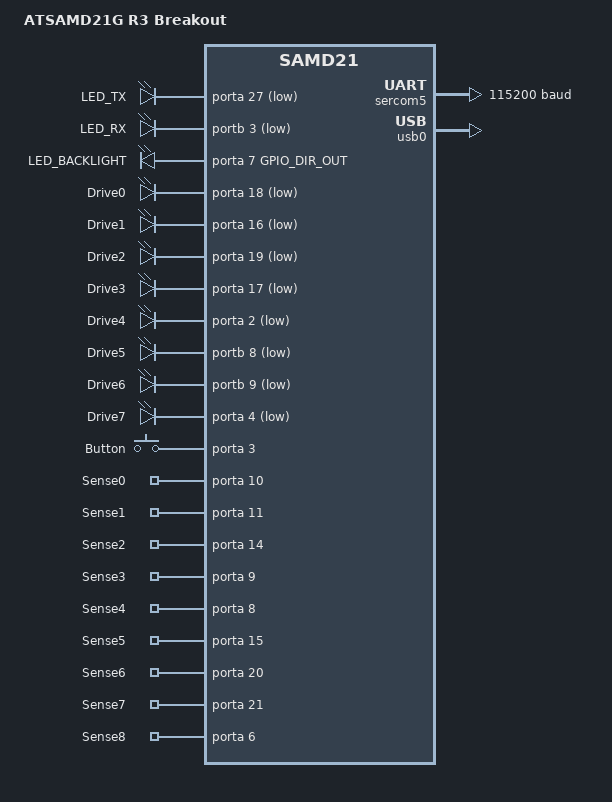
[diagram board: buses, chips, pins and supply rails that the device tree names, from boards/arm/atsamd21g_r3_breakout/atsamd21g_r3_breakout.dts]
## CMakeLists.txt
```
cmake_minimum_required(VERSION 3.13.1)

set(BOARD_ROOT ${CMAKE_CURRENT_LIST_DIR})
set(BOARD atsamd21g_r3_breakout)

find_package(Zephyr REQUIRED HINTS $ENV{ZEPHYR_BASE})

project(mf86v2)

target_sources(app PRIVATE src/main.cpp)
target_sources(app PRIVATE src/hid.cpp)
```

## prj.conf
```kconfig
CONFIG_GPIO=y
CONFIG_CORTEX_M_SYSTICK=y
CONFIG_BUILD_OUTPUT_HEX=y
CONFIG_SOC_SERIES_SAMD21=y
CONFIG_SOC_ATMEL_SAMD_XOSC32K=y
CONFIG_SOC_PART_NUMBER_SAMD21G18A=y
CONFIG_USE_SEGGER_RTT=y
CONFIG_PINMUX=y
CONFIG_USB=y
CONFIG_CPLUSPLUS=y
CONFIG_STD_CPP17=y
CONFIG_EARLY_CONSOLE=y
CONFIG_ASSERT=y
CONFIG_LOG=y
CONFIG_SHELL=y
CONFIG_SHELL_PROMPT_UART="mf86v2> "
CONFIG_UART_SHELL_ON_DEV_NAME="CDC_ACM_0"
CONFIG_KERNEL_SHELL=y
CONFIG_USB_DEVICE_STACK=y
CONFIG_USB_COMPOSITE_DEVICE=y
CONFIG_USB_CDC_ACM=y
CONFIG_USB_DEVICE_HID=y
CONFIG_ENABLE_HID_INT_OUT_EP=y
CONFIG_USE_DT_CODE_PARTITION=y
CONFIG_REBOOT=y
```

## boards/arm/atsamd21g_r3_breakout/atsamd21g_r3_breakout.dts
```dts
/dts-v1/;

#include <atmel/samd21.dtsi>
#include <dt-bindings/gpio/gpio.h>

/ {
	model = "ATSAMD21G R3 Breakout";
	compatible = "sparkfun,atsamd21g_r3_breakout", "atmel,samd21g18a", "atmel,samd21";

	chosen {
		zephyr,code-partition = &slot0_partition;
		zephyr,console = &sercom5;
		zephyr,flash = &flash0;
		zephyr,shell-uart = &sercom5;
		zephyr,sram = &sram0;
	};

	aliases {
		led0 = &led_tx;
		led1 = &led_rx;
		btn0 = &btn0;
		backlight = &backlight;
		drive0 = &drive0;
		drive1 = &drive1;
		drive2 = &drive2;
		drive3 = &drive3;
		drive4 = &drive4;
		drive5 = &drive5;
		drive6 = &drive6;
		drive7 = &drive7;
		sense0 = &sense0;
		sense1 = &sense1;
		sense2 = &sense2;
		sense3 = &sense3;
		sense4 = &sense4;
		sense5 = &sense5;
		sense6 = &sense6;
		sense7 = &sense7;
		sense8 = &sense8;
	};

	leds {
		compatible = "gpio-leds";

		led_tx: led_tx {
			gpios = <&porta 27 (GPIO_DIR_OUT | GPIO_ACTIVE_LOW)>;
			label = "LED_TX";
		};

		led_rx: led_rx {
			gpios = <&portb 3 (GPIO_DIR_OUT | GPIO_ACTIVE_LOW)>;
			label = "LED_RX";
		};

		backlight: backlight {
			gpios = <&porta 7 GPIO_DIR_OUT>;
			label = "LED_BACKLIGHT";
		};

		drive0: drive0 {
			gpios = <&porta 18 (GPIO_DIR_OUT | GPIO_ACTIVE_LOW)>;
			label = "Drive0";
		};

		drive1: drive1 {
			gpios = <&porta 16 (GPIO_DIR_OUT | GPIO_ACTIVE_LOW)>;
			label = "Drive1";
		};

		drive2: drive2 {
			gpios = <&porta 19 (GPIO_DIR_OUT | GPIO_ACTIVE_LOW)>;
			label = "Drive2";
		};

		drive3: drive3 {
			gpios = <&porta 17 (GPIO_DIR_OUT | GPIO_ACTIVE_LOW)>;
			label = "Drive3";
		};

		drive4: drive4 {
			gpios = <&porta 2 (GPIO_DIR_OUT | GPIO_ACTIVE_LOW)>;
			label = "Drive4";
		};

		drive5: drive5 {
			gpios = <&portb 8 (GPIO_DIR_OUT | GPIO_ACTIVE_LOW)>;
			label = "Drive5";
		};

		drive6: drive6 {
			gpios = <&portb 9 (GPIO_DIR_OUT | GPIO_ACTIVE_LOW)>;
			label = "Drive6";
		};

		drive7: drive7 {
			gpios = <&porta 4 (GPIO_DIR_OUT | GPIO_ACTIVE_LOW)>;
			label = "Drive7";
		};
	};

	buttons {
		compatible = "gpio-keys";

		btn0: btn0 {
			gpios = <&porta 3 (GPIO_DIR_IN | GPIO_PULL_UP)>;
			label = "Button";
		};

		sense0: sense0 {
			gpios = <&porta 10 (GPIO_DIR_IN | GPIO_PULL_UP)>;
			label = "Sense0";
		};

		sense1: sense1 {
			gpios = <&porta 11 (GPIO_DIR_IN | GPIO_PULL_UP)>;
			label = "Sense1";
		};

		sense2: sense2 {
			gpios = <&porta 14 (GPIO_DIR_IN | GPIO_PULL_UP)>;
			label = "Sense2";
		};

		sense3: sense3 {
			gpios = <&porta 9 (GPIO_DIR_IN | GPIO_PULL_UP)>;
			label = "Sense3";
		};

		sense4: sense4 {
			gpios = <&porta 8 (GPIO_DIR_IN | GPIO_PULL_UP)>;
			label = "Sense4";
		};

		sense5: sense5 {
			gpios = <&porta 15 (GPIO_DIR_IN | GPIO_PULL_UP)>;
			label = "Sense5";
		};

		sense6: sense6 {
			gpios = <&porta 20 (GPIO_DIR_IN | GPIO_PULL_UP)>;
			label = "Sense6";
		};

		sense7: sense7 {
			gpios = <&porta 21 (GPIO_DIR_IN | GPIO_PULL_UP)>;
			label = "Sense7";
		};

		sense8: sense8 {
			gpios = <&porta 6 (GPIO_DIR_IN | GPIO_PULL_UP)>;
			label = "Sense8";
		};
	};
};

&cpu0 {
	clock-frequency = <48000000>;
};

&sercom5 {
	status = "okay";
	compatible = "atmel,sam0-uart";
	current-speed = <115200>;
	rxpo = <3>;
	txpo = <1>;
};

&usb0 {
	status = "okay";
};

&flash0 {
	partitions {
		compatible = "fixed-partitions";
		#address-cells = <1>;
		#size-cells = <1>;

		slot0_partition: partition@0 {
			label = "image-0";
			reg = <0x00000000 0x40000>;
		};
	};
};
```

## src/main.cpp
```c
#include "led.hpp"

#include <logging/log.h>
#include <usb/class/usb_hid.h>
#include <usb/usb_device.h>
#include <zephyr.h>

LOG_MODULE_REGISTER(app, LOG_LEVEL_DBG);

extern struct k_sem app_hid_init;
extern struct k_sem app_hid_ready;

void usb_status_cb(enum usb_dc_status_code status, const u8_t *param)
{
	switch (status) {
	case USB_DC_ERROR:
		LOG_INF("USB error reported by the controller");
		break;
	case USB_DC_RESET:
		LOG_INF("USB reset");
		break;
	case USB_DC_CONNECTED:
		LOG_INF("USB connection established, hardware enumeration is completed");
		break;
	case USB_DC_CONFIGURED:
		k_sem_give(&app_hid_ready);
		LOG_INF("USB configuration done");
		break;
	case USB_DC_DISCONNECTED:
		LOG_INF("USB connection lost");
		break;
	case USB_DC_SUSPEND:
		LOG_INF("USB connection suspended by the HOST");
		break;
	case USB_DC_RESUME:
		LOG_INF("USB connection resumed by the HOST");
		break;
	case USB_DC_INTERFACE:
		LOG_INF("USB interface selected");
		break;
	case USB_DC_SET_HALT:
		LOG_INF("Set Feature ENDPOINT_HALT received");
		break;
	case USB_DC_CLEAR_HALT:
		LOG_INF("Clear Feature ENDPOINT_HALT received");
		break;
	case USB_DC_SOF:
		LOG_INF("Start of Frame received");
		break;
	case USB_DC_UNKNOWN:
		LOG_INF("Initial USB connection status");
		break;
	}
}

void main()
{
	led::on<led::Led0>();

	k_sem_take(&app_hid_init, K_FOREVER);

	int err __unused = usb_enable(usb_status_cb);
	__ASSERT(!err, "usb_enable failed");

	led::off<led::Led0>();

	while (true) {
		led::flash<led::Led0>();
		k_sleep(K_SECONDS(1));
	}
}
```

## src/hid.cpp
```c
#include "hid.hpp"
#include "keymap.hpp"
#include "led.hpp"

#include <drivers/gpio.h>
#include <logging/log.h>
#include <usb/class/usb_hid.h>
#include <usb/usb_device.h>
#include <zephyr.h>
#include <devicetree.h>

LOG_MODULE_DECLARE(app, LOG_LEVEL_DBG);

#define foo(x)                                                                 \
	{                                                                      \
		DT_GPIO_LABEL(DT_ALIAS(x), gpios),                             \
			DT_GPIO_PIN(DT_ALIAS(x), gpios),                       \
			DT_GPIO_FLAGS(DT_ALIAS(x), gpios)                      \
	}

K_SEM_DEFINE(app_hid_init, 0, 1);
K_SEM_DEFINE(app_hid_ready, 0, 1); // main.cpp

static const Gpio rows[] = {
	foo(drive0), foo(drive1), foo(drive2), foo(drive3),
	foo(drive4), foo(drive5), foo(drive6), foo(drive7),
};

static const Gpio cols[] = {
	foo(sense0), foo(sense1), foo(sense2), foo(sense3), foo(sense4),
	foo(sense5), foo(sense6), foo(sense7), foo(sense8),
};

Row::Row(Gpio row) : ctrl_(device_get_binding(row.ctrl)), pin_(row.pin)
{
	gpio_pin_set(ctrl_, pin_, 0);
}

Row::~Row()
{
	gpio_pin_set(ctrl_, pin_, 1);
}

int Row::get(Gpio col)
{
	return gpio_pin_get(device_get_binding(col.ctrl), col.pin);
}

// Host <-- Device (Keys)
static void input_ready_cb(void)
{
	k_sem_give(&app_hid_ready);
}

// Host --> Device (LEDs)
static void output_ready_cb(void)
{
	struct device *kbd_dev = device_get_binding("HID_0");
	if (!kbd_dev) {
		LOG_WRN("device_get_binding failed");
		return;
	}

	static u8_t report;
	hid_int_ep_read(kbd_dev, &report, sizeof(report), NULL);

	if (report & HID_KBD_LED_CAPS_LOCK) {
		led::on<led::Led1>();
	} else {
		led::off<led::Led1>();
	}
}

static void app_hid_fn(void *arg0, void *arg1, void *arg2)
{
	int err __unused = 0;

	struct device *kbd_dev = device_get_binding("HID_0");
	__ASSERT_NO_MSG(kbd_dev);

	const u8_t kbd_desc[] = HID_KEYBOARD_REPORT_DESC();
	const struct hid_ops callbacks = {
		.int_in_ready = input_ready_cb,
		.int_out_ready = output_ready_cb,
	};
	usb_hid_register_device(kbd_dev, kbd_desc, sizeof(kbd_desc),
				&callbacks);

	err = usb_hid_init(kbd_dev);
	__ASSERT(!err, "usb_hid_init failed");

	k_sem_give(&app_hid_init);

	static u8_t report[8] = {};

	while (true) {
		u8_t new_report[sizeof(report)] = {};
		u32_t idx = 2;

		for (u8_t i = 0; i < ARRAY_SIZE(rows); i++) {
			Row row(rows[i]);

			for (u8_t j = 0; j < ARRAY_SIZE(cols); j++) {
				if (idx >= sizeof(report)) {
					continue;
				}

				if (!row.get(cols[j])) {
					if (keymap[i][j].modifier) {
						new_report[0] |=
							keymap[i][j].scancode;
					} else {
						new_report[idx++] =
							keymap[i][j].scancode;
					}
				}
			}
		}

		if (memcmp(report, new_report, sizeof(report))) {
			k_sem_take(&app_hid_ready, K_FOREVER);
			hid_int_ep_write(kbd_dev, new_report,
					 sizeof(new_report), NULL);
			memcpy(report, new_report, sizeof(report));
		}

		k_sleep(K_MSEC(10));
	}
}

K_THREAD_DEFINE(app_hid, KB(1), app_hid_fn, NULL, NULL, NULL, 3, 0, 0);
```

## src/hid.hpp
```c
#ifndef HID_HPP_
#define HID_HPP_

#include <drivers/gpio.h>
#include <zephyr.h>

struct Gpio {
	const char *ctrl;
	const int pin;
	const int flags;
};

struct Row {
	Row(Gpio row);
	~Row();

	int get(Gpio col);

    private:
	struct device *ctrl_;
	int pin_;
};

#endif /* HID_HPP_ */
```

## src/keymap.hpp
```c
#ifndef KEYMAP_HPP_
#define KEYMAP_HPP_

#include <usb/usb_device.h>
#include <usb/class/usb_hid.h>

struct Key {
	uint32_t scancode;
	uint32_t modifier;
};

const Key keymap[8][9] = {
	{
		{ HID_KEY_ESC, false },
		{ HID_KEY_1, false },
		{ HID_KEY_2, false },
		{ HID_KEY_3, false },
		{ HID_KEY_4, false },
		{ HID_KEY_5, false },
		{ HID_KEY_6, false },
		{ HID_KEY_7, false },
		{ HID_KEY_8, false },
	},
	{
		{ HID_KEY_9, false },
		{ HID_KEY_0, false },
		{ HID_KEY_MINUS, false },
		{ HID_KEY_EQUAL, false },
		{ HID_KEY_BACKSPACE, false },
		{ HID_KEY_HOME, false },
		{ HID_KEY_PAGEUP, false },
		{ HID_KEY_TAB, false },
		{ HID_KEY_Q, false },
	},
	{
		{ HID_KEY_W, false },
		{ HID_KEY_E, false },
		{ HID_KEY_R, false },
		{ HID_KEY_T, false },
		{ HID_KEY_Y, false },
		{ HID_KEY_U, false },
		{ HID_KEY_I, false },
		{ HID_KEY_O, false },
		{ HID_KEY_P, false },
	},
	{
		{ HID_KEY_LEFTBRACE, false },
		{ HID_KEY_RIGHTBRACE, false },
		{ HID_KEY_BACKSLASH, false },
		{ HID_KEY_END, false },
		{ HID_KEY_PAGEDOWN, false },
		{ HID_KEY_CAPSLOCK, false },
		{ HID_KEY_A, false },
		{ HID_KEY_S, false },
		{ HID_KEY_D, false },
	},
	{
		{ HID_KEY_F, false },
		{ HID_KEY_G, false },
		{ HID_KEY_H, false },
		{ HID_KEY_J, false },
		{ HID_KEY_K, false },
		{ HID_KEY_L, false },
		{ HID_KEY_SEMICOLON, false },
		{ HID_KEY_APOSTROPHE, false },
		{ HID_KEY_ENTER, false },
	},
	{
		{ HID_KBD_MODIFIER_LEFT_SHIFT, true },
		{ HID_KEY_Z, false },
		{ HID_KEY_X, false },
		{ HID_KEY_C, false },
		{ HID_KEY_V, false },
		{ HID_KEY_B, false },
		{ HID_KEY_N, false },
		{ HID_KEY_M, false },
		{ HID_KEY_COMMA, false },
	},
	{
		{ HID_KEY_DOT, false },
		{ HID_KEY_SLASH, false },
		{ HID_KBD_MODIFIER_RIGHT_SHIFT, true },
		{ HID_KEY_UP, false },
		{ HID_KBD_MODIFIER_LEFT_CTRL, true },
		{ HID_KBD_MODIFIER_LEFT_UI, true },
		{ HID_KBD_MODIFIER_LEFT_ALT, true },
		{ HID_KEY_SPACE, false },
		{ HID_KBD_MODIFIER_RIGHT_ALT, true },
	},
	{
		{ 0, false },
		{ HID_KBD_MODIFIER_RIGHT_CTRL, true },
		{ HID_KEY_LEFT, false },
		{ HID_KEY_DOWN, false },
		{ HID_KEY_RIGHT, false },
		{ 0, false },
		{ 0, false },
		{ 0, false },
		{ 0, false },
	},
};

const Key keymap_fn[8][9] = {
	{
		{ HID_KEY_GRAVE, false },
		{ HID_KEY_F1, false },
		{ HID_KEY_F2, false },
		{ HID_KEY_F3, false },
		{ HID_KEY_F4, false },
		{ HID_KEY_F5, false },
		{ HID_KEY_F6, false },
		{ HID_KEY_F7, false },
		{ HID_KEY_F8, false },
	},
	{
		{ HID_KEY_F9, false },
		{ HID_KEY_F10, false },
		{ HID_KEY_F11, false },
		{ HID_KEY_F12, false },
		{ HID_KEY_DELETE, false },
		{ 0, false },
		{ 0, false },
		{ 0, false },
		{ 0, false },
	},
	{
		{ 0, false },
		{ 0, false },
		{ 0, false },
		{ 0, false },
		{ 0, false },
		{ 0, false },
		{ 0, false },
		{ 0, false },
		{ 0, false },
	},
	{
		{ 0, false },
		{ 0, false },
		{ 0, false },
		{ 0, false },
		{ 0, false },
		{ 0, false },
		{ 0, false },
		{ 0, false },
		{ 0, false },
	},
	{
		{ 0, false },
		{ 0, false },
		{ 0, false },
		{ 0, false },
		{ 0, false },
		{ 0, false },
		{ 0, false },
		{ 0, false },
		{ HID_KEY_ENTER, false },
	},
	{
		{ HID_KBD_MODIFIER_LEFT_SHIFT, true },
		{ 0, false },
		{ 0, false },
		{ 0, false },
		{ 0, false },
		{ 0, false },
		{ 0, false },
		{ 0, false },
		{ 0, false },
	},
	{
		{ 0, false },
		{ 0, false },
		{ HID_KBD_MODIFIER_RIGHT_SHIFT, true },
		{ 0, false },
		{ HID_KBD_MODIFIER_LEFT_CTRL, true },
		{ HID_KBD_MODIFIER_LEFT_UI, true },
		{ HID_KBD_MODIFIER_LEFT_ALT, true },
		{ 0, false },
		{ HID_KBD_MODIFIER_RIGHT_ALT, true },
	},
	{
		{ 0, false },
		{ HID_KBD_MODIFIER_RIGHT_CTRL, true },
		{ 0, false },
		{ 0, false },
		{ 0, false },
		{ 0, false },
		{ 0, false },
		{ 0, false },
		{ 0, false },
	},
};

#endif /* KEYMAP_HPP_ */
```

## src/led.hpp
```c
#ifndef LEDS_HPP
#define LEDS_HPP

#include <drivers/gpio.h>
#include <zephyr.h>
#include <init.h>

#define FLASH_DURATION K_MSEC(50)

namespace led
{
namespace
{
	struct k_timer led_timer_0;
	struct k_timer led_timer_1;
} // namespace

struct Led0 {
	static constexpr char controller[] =
		DT_GPIO_LABEL(DT_ALIAS(led0), gpios);
	static constexpr int pin = DT_GPIO_PIN(DT_ALIAS(led0), gpios);
	static constexpr int flags = DT_GPIO_FLAGS(DT_ALIAS(led0), gpios);
	static constexpr struct k_timer &timer = led_timer_0;
};

struct Led1 {
	static constexpr char controller[] =
		DT_GPIO_LABEL(DT_ALIAS(led1), gpios);
	static constexpr int pin = DT_GPIO_PIN(DT_ALIAS(led1), gpios);
	static constexpr int flags = DT_GPIO_FLAGS(DT_ALIAS(led1), gpios);
	static constexpr struct k_timer &timer = led_timer_1;
};

template <typename Led> void on()
{
	k_timer_stop(&Led::timer);
	gpio_pin_set(device_get_binding(Led::controller), Led::pin, 1);
}

template <typename Led> void off()
{
	k_timer_stop(&Led::timer);
	gpio_pin_set(device_get_binding(Led::controller), Led::pin, 0);
}

template <typename Led> void flash()
{
	gpio_pin_set(device_get_binding(Led::controller), Led::pin, 1);
	k_timer_start(&Led::timer, FLASH_DURATION, K_FOREVER);
}

namespace
{
	int led_init(struct device *dev)
	{
		gpio_pin_configure(device_get_binding(Led0::controller),
				   Led0::pin, Led0::flags);
		k_timer_init(
			&Led0::timer,
			[](struct k_timer *timer) {
				gpio_pin_set(
					device_get_binding(Led0::controller),
					Led0::pin, 0);
			},
			[](struct k_timer *timer) {
				gpio_pin_set(
					device_get_binding(Led0::controller),
					Led0::pin, 0);
			});

		gpio_pin_configure(device_get_binding(Led0::controller),
				   Led0::pin, Led0::flags);
		k_timer_init(
			&Led1::timer,
			[](struct k_timer *timer) {
				gpio_pin_set(
					device_get_binding(Led1::controller),
					Led1::pin, 0);
			},
			[](struct k_timer *timer) {
				gpio_pin_set(
					device_get_binding(Led1::controller),
					Led1::pin, 0);
			});

		return 0;
	}

	SYS_INIT(led_init, APPLICATION, CONFIG_MAIN_THREAD_PRIORITY);
} // namespace
} // namespace led

#endif // LEDS_HPP
```
